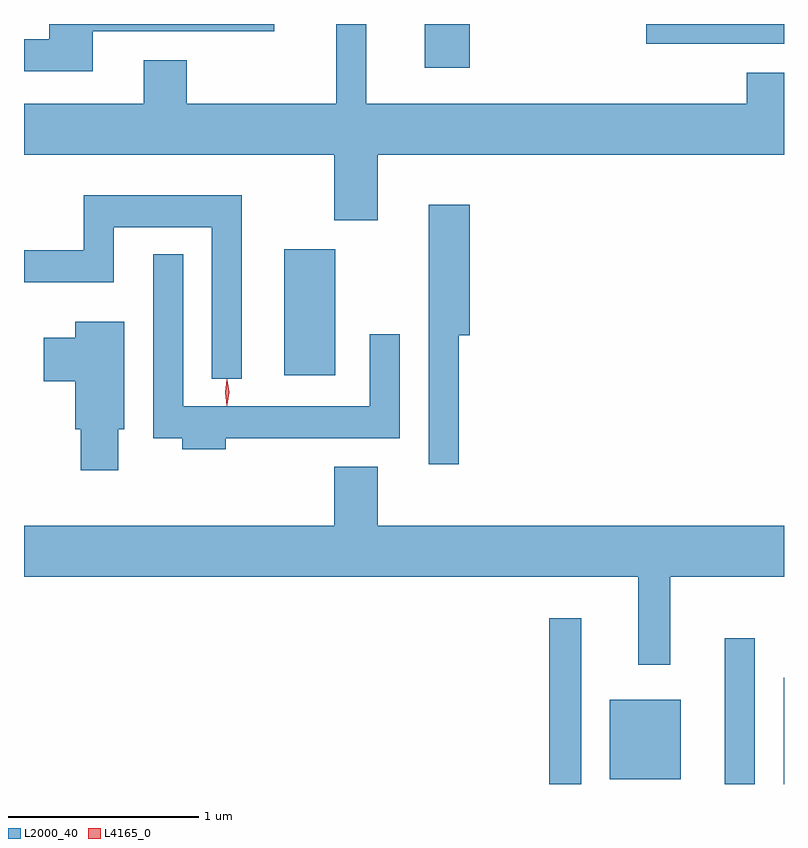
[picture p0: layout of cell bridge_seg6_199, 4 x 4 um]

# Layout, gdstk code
import gdstk
lib = gdstk.Library(unit=1e-6, precision=1e-09)
def R(c, l, rs):  # rectangles x0, y0, x1, y1
    for r in rs: c.add(gdstk.rectangle(r[:2], r[2:], *l))
def P(c, l, *ps):  # polygons
    for p in ps: c.add(gdstk.Polygon(p, *l))
L2000_40 = (2000, 40)
L4165_0 = (4165, 0)

bridge_seg6_199 = lib.new_cell('bridge_seg6_199')
R(bridge_seg6_199, L2000_40, [(1099.471,1551.165,1099.639,1552.038), (1100.396,1551.165,1100.554,1551.933), (1100.706,1551.165,1100.707,1551.724), (1099.791,1551.191,1100.164,1551.609), (1098.076,1553.316,1098.344,1553.979), (1098.816,1554.936,1099.054,1555.165), (1099.983,1555.061,1100.707,1555.165)])
P(bridge_seg6_199, L2000_40, [(1098.569,1554.476),(1100.707,1554.476),(1100.707,1554.909),(1100.511,1554.909),(1100.511,1554.744),(1098.509,1554.744),(1098.509,1555.165),(1098.351,1555.165),(1098.351,1554.744),(1097.564,1554.744),(1097.564,1554.974),(1097.336,1554.974),(1097.336,1554.744),(1096.707,1554.744),(1096.707,1554.476),(1098.341,1554.476),(1098.341,1554.131),(1098.569,1554.131)],
  [(1097.069,1555.126),(1098.024,1555.126),(1098.024,1555.165),(1096.841,1555.165),(1096.841,1555.084),(1096.707,1555.084),(1096.707,1554.916),(1097.069,1554.916)],
  [(1097.854,1554.264),(1097.021,1554.264),(1097.021,1553.974),(1096.707,1553.974),(1096.707,1553.806),(1097.179,1553.806),(1097.179,1554.096),(1097.696,1554.096),(1097.696,1553.298),(1097.854,1553.298)],
  [(1098.994,1553.526),(1099.054,1553.526),(1099.054,1554.214),(1098.836,1554.214),(1098.836,1552.848),(1098.994,1552.848)],
  [(1097.769,1552.986),(1098.684,1552.986),(1098.684,1553.533),(1098.526,1553.533),(1098.526,1553.154),(1097.544,1553.154),(1097.544,1553.953),(1097.386,1553.953),(1097.386,1552.986),(1097.541,1552.986),(1097.541,1552.926),(1097.769,1552.926)],
  [(1097.204,1553.031),(1097.234,1553.031),(1097.234,1553.599),(1096.976,1553.599),(1096.976,1553.514),(1096.811,1553.514),(1096.811,1553.286),(1096.976,1553.286),(1096.976,1553.031),(1097.006,1553.031),(1097.006,1552.816),(1097.204,1552.816)],
  [(1100.109,1552.256),(1100.707,1552.256),(1100.707,1552.524),(1098.569,1552.524),(1098.569,1552.834),(1098.341,1552.834),(1098.341,1552.524),(1096.707,1552.524),(1096.707,1552.256),(1099.941,1552.256),(1099.941,1551.793),(1100.109,1551.793)])
P(bridge_seg6_199, L4165_0, [(1097.774,1553.157),(1097.765,1553.226),(1097.774,1553.296),(1097.775,1553.296),(1097.775,1553.296),(1097.785,1553.226),(1097.775,1553.157),(1097.775,1553.157)],
  [(1097.777,1553.159),(1097.776,1553.16),(1097.767,1553.226),(1097.776,1553.292),(1097.777,1553.293),(1097.777,1553.292),(1097.787,1553.226),(1097.777,1553.16)])

lib.write_gds('bridge_seg6_199.gds')
